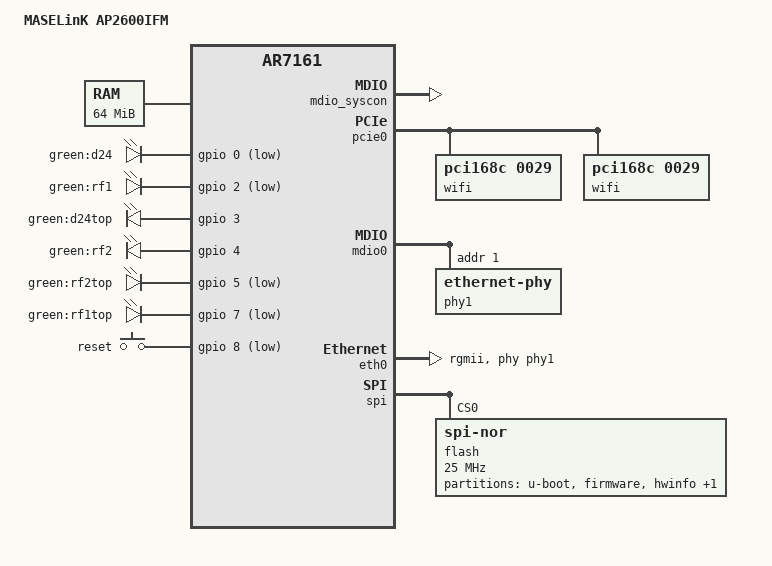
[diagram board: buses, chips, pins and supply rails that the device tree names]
// SPDX-License-Identifier: GPL-2.0-or-later OR MIT

/*
 * MASELinK AP2600IFM (AR7161)
 *
 * 基于官方 OpenWrt master 的 ar7161_aruba_ap-175.dts 改造,
 * 硬件参数源自 mach-maselink-ap2600ifm.c(作者 Weijie Gao)。
 * 本机无 AP-175 的 i2c 扩展模块(i2c0/i2c-gpio 已删除)。
 */

#include "ar7100.dtsi"

#include <dt-bindings/gpio/gpio.h>
#include <dt-bindings/input/input.h>

/ {
	compatible = "maselink,ap2600ifm", "qca,ar7161";
	model = "MASELinK AP2600IFM";

	chosen {
		bootargs = "console=ttyS0,115200 mem=64M";
	};

	aliases {
		led-boot = &led_d24;
		led-failsafe = &led_d24;
		led-upgrade = &led_d24;
	};

	memory@0 {
		device_type = "memory";
		reg = <0x0 0x04000000>;
	};

	/*
	 * 独立 MDIO syscon:仅覆盖 MDIO/MII 寄存器区(0x19000000),
	 * 不带 resets 属性。mdio0 通过 regmap 指向该节点后,
	 * 不会再触发 of_syscon_register(eth0) 去独占获取 reset#9,
	 * 从而消除与 ag71xx 主驱动之间的 -EBUSY 冲突。
	 */
	mdio_syscon: mdio-syscon@19000000 {
		compatible = "syscon";
		reg = <0x19000000 0x200>;
	};

	leds {
		compatible = "gpio-leds";

		led_d24: d24 {
			label = "green:d24";
			gpios = <&gpio 0 GPIO_ACTIVE_LOW>;
		};

		rf1 {
			label = "green:rf1";
			gpios = <&gpio 2 GPIO_ACTIVE_LOW>;
		};

		d24top {
			label = "green:d24top";
			/* GPIO3 实测高电平点亮（2026-09-01），修正 LOWER -> HIGH */
			gpios = <&gpio 3 GPIO_ACTIVE_HIGH>;
		};

		rf2 {
			label = "green:rf2";
			/* GPIO4 实测高电平点亮（2026-09-01），修正 LOWER -> HIGH */
			gpios = <&gpio 4 GPIO_ACTIVE_HIGH>;
		};

		rf2top {
			label = "green:rf2top";
			gpios = <&gpio 5 GPIO_ACTIVE_LOW>;
		};

		rf1top {
			label = "green:rf1top";
			gpios = <&gpio 7 GPIO_ACTIVE_LOW>;
		};
	};

	keys {
		compatible = "gpio-keys";

		reset {
			label = "reset";
			linux,code = <KEY_RESTART>;
			gpios = <&gpio 8 GPIO_ACTIVE_LOW>;
		};
	};
};

&pcie0 {
	status = "okay";

	/* 无线卡使用卡内 EEPROM OTP MAC(实测跨重启稳定,如 00:1b:b1 / 90:a4:de)。
	 * 如需统一为 hwinfo 基址派生,可启用(注释保留):
	 * nvmem-cells = <&macaddr_hwinfo_0>;
	 * nvmem-cell-names = "mac-address";
	 * mac-address-increment = <1>;
	 */
	wifi@11,0 {
		compatible = "pci168c,0029";
		reg = <0x8800 0 0 0 0>;
		#gpio-cells = <2>;
		gpio-controller;
	};

	wifi@12,0 {
		compatible = "pci168c,0029";
		reg = <0x9000 0 0 0 0>;
		#gpio-cells = <2>;
		gpio-controller;
	};
};

&mdio0 {
	status = "okay";

	/*
	 * regmap 指向独立 mdio_syscon(不带 resets),
	 * 避免解析 eth0 时和 ag71xx 主驱动抢 reset#9 触发 -EBUSY。
	 */
	regmap = <&mdio_syscon>;

	/*
	 * PHY 为 IC+ IP1001，MDIO 地址 1。
	 * 2026-08-30 Breed mdio 实测确认：ag71xx-mdio.0 read 1 2 -> 0243,
	 * read 1 3 -> 0d91，即 PHY ID 0x02430d91 = IP1001；地址 20 无响应。
	 * 与官方 AP-175 板值 @1 一致。
	 */
	phy1: ethernet-phy@1 {
		reg = <1>;
	};
};

&eth0 {
	status = "okay";

	/*
	 * MAC 取自 hwinfo 分区偏移 0x0(实测 2026-09-02):
	 * 00:27:1d:20:03:6f(00271D = Comba 京信 OUI)。
	 * 原 macaddr@1c 位置实测是 ASCII 序列号, 且未绑定 eth0,
	 * 导致每次上电 LAN MAC 随机(瘦 AP 模式 DHCP IP 漂移)。
	 */
	nvmem-cells = <&macaddr_hwinfo_0>;
	nvmem-cell-names = "mac-address";

	/* 与 ar7100.dtsi 默认值相同,显式声明以文档化 */
	pll-data = <0x00110000 0x00001099 0x00991099>;

	phy-mode = "rgmii";
	phy-handle = <&phy1>;
};

&spi {
	status = "okay";

	flash@0 {
		compatible = "jedec,spi-nor";
		reg = <0>;
		spi-max-frequency = <25000000>;

		partitions {
			compatible = "fixed-partitions";
			#address-cells = <1>;
			#size-cells = <1>;

			/*
			 * 布局对齐 Breed 的 ATH-SDK-16MB flash layout:
			 * bootloader 区 0x0-0x50000, 固件区 0x50000 起。
			 * 这样 Breed WebUI 选 ATH-SDK-16MB 布局上传 sysupgrade
			 * 即可一键直刷, autoboot 也从 0x50000 引导。
			 */
			partition@0 {
				label = "u-boot";
				reg = <0x000000 0x50000>;
				read-only;
			};

			partition@50000 {
				label = "firmware";
				reg = <0x50000 0xf90000>;
				compatible = "denx,uimage";
			};

			hwinfo: partition@fe0000 {
				label = "hwinfo";
				reg = <0xfe0000 0x10000>;
				read-only;

				/*
				 * 用 nvmem-cells 旧式写法(与官方 AP-105 一致, 6.6 ath79 全系如此)。
				 * 不能用 nvmem-layout/fixed-layout + mac-base: 需要
				 * CONFIG_NVMEM_LAYOUT_FIXED, 而 ath79 config-6.6 未开,
				 * 会导致 cell 解析失败(#nvmem-cell-cells = 1 found 0) -> MAC 随机。
				 * 真实 MAC 在偏移 0x0(Comba OUI 00:27:1d), 0x1c 处是 ASCII 序列号。
				 */
				compatible = "nvmem-cells";
				#address-cells = <1>;
				#size-cells = <1>;

				macaddr_hwinfo_0: macaddr@0 {
					reg = <0x0 0x6>;
				};
			};

			partition@ff0000 {
				label = "u-boot-env";
				reg = <0xff0000 0x10000>;
				read-only;
			};
		};
	};
};
